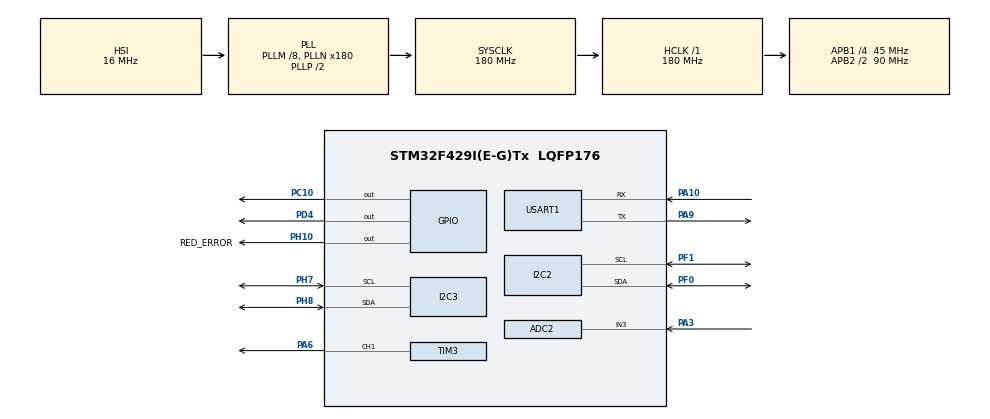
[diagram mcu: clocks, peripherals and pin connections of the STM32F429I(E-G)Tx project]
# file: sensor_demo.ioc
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ADC2.Channel-1\#ChannelRegularConversion=ADC_CHANNEL_3
ADC2.ClockPrescaler=ADC_CLOCK_SYNC_PCLK_DIV6
ADC2.NbrOfConversionFlag=1
ADC2.Rank-1\#ChannelRegularConversion=1
ADC2.SamplingTime-1\#ChannelRegularConversion=ADC_SAMPLETIME_84CYCLES
Dma.Request0=USART1_RX
Dma.USART1_RX.0.Direction=DMA_PERIPH_TO_MEMORY
Dma.USART1_RX.0.FIFOMode=DMA_FIFOMODE_DISABLE
Dma.USART1_RX.0.Instance=DMA2_Stream2
Dma.USART1_RX.0.MemDataAlignment=DMA_MDATAALIGN_BYTE
Dma.USART1_RX.0.MemInc=DMA_MINC_ENABLE
Dma.USART1_RX.0.Mode=DMA_NORMAL
Dma.USART1_RX.0.PeriphDataAlignment=DMA_PDATAALIGN_BYTE
Dma.USART1_RX.0.PeriphInc=DMA_PINC_DISABLE
Dma.USART1_RX.0.Priority=DMA_PRIORITY_LOW
FREERTOS.Tasks01=defaultTask,0,256,StartDefaultTask,Default,NULL,Dynamic,NULL,NULL
FREERTOS.configMINIMAL_STACK_SIZE=256
Mcu.Family=STM32F4
Mcu.Name=STM32F429I(E-G)Tx
Mcu.Package=LQFP176
NVIC.DMA2_Stream2_IRQn=true\:5\:0\:false\:false\:true\:true\:false\:true\:true
NVIC.PriorityGroup=NVIC_PRIORITYGROUP_4
NVIC.TIM6_DAC_IRQn=true\:15\:0\:false\:false\:true\:false\:false\:true\:true
NVIC.TimeBase=TIM6_DAC_IRQn
NVIC.TimeBaseIP=TIM6
NVIC.USART1_IRQn=true\:5\:0\:false\:false\:true\:true\:true\:true\:true
PA10.Mode=Asynchronous
PA10.Signal=USART1_RX
PA13.Mode=Serial_Wire
PA13.Signal=SYS_JTMS-SWDIO
PA14.Mode=Serial_Wire
PA14.Signal=SYS_JTCK-SWCLK
PA3.Signal=ADCx_IN3
PA6.Signal=S_TIM3_CH1
PA9.Mode=Asynchronous
PA9.Signal=USART1_TX
PC10.GPIO_ModeDefaultOutputPP=GPIO_MODE_OUTPUT_OD
PC10.GPIO_PuPd=GPIO_NOPULL
PC10.PinState=GPIO_PIN_SET
PC10.Signal=GPIO_Output
PD4.Signal=GPIO_Output
PF0.GPIO_Pu=GPIO_NOPULL
PF0.Mode=I2C
PF0.Signal=I2C2_SDA
PF1.GPIO_Pu=GPIO_NOPULL
PF1.Mode=I2C
PF1.Signal=I2C2_SCL
PH10.GPIO_Label=RED_ERROR
PH10.PinState=GPIO_PIN_SET
PH10.Signal=GPIO_Output
PH7.Mode=I2C
PH7.Signal=I2C3_SCL
PH8.Mode=I2C
PH8.Signal=I2C3_SDA
ProjectManager.HeapSize=0x200
ProjectManager.StackSize=0x400
ProjectManager.TargetToolchain=CMake
RCC.48MHZClocksFreq_Value=90000000
RCC.AHBFreq_Value=180000000
RCC.APB1CLKDivider=RCC_HCLK_DIV4
RCC.APB1Freq_Value=45000000
RCC.APB1TimFreq_Value=90000000
RCC.APB2CLKDivider=RCC_HCLK_DIV2
RCC.APB2Freq_Value=90000000
RCC.APB2TimFreq_Value=180000000
RCC.CortexFreq_Value=180000000
RCC.HCLKFreq_Value=180000000
RCC.HSE_VALUE=25000000
RCC.HSI_VALUE=16000000
RCC.LSE_VALUE=32768
RCC.PLLM=8
RCC.PLLN=180
RCC.SYSCLKFreq_VALUE=180000000
RCC.SYSCLKSource=RCC_SYSCLKSOURCE_PLLCLK
RCC.VCOOutputFreq_Value=360000000
SH.ADCx_IN3.0=ADC2_IN3,IN3
SH.S_TIM3_CH1.0=TIM3_CH1,PWM Generation1 CH1
TIM3.AutoReloadPreload=TIM_AUTORELOAD_PRELOAD_ENABLE
TIM3.Channel-PWM\ Generation1\ CH1=TIM_CHANNEL_1
TIM3.Period=999
TIM3.Prescaler=18000-1
USART1.VirtualMode=VM_ASYNC
VP_FREERTOS_VS_CMSIS_V1.Mode=CMSIS_V1
VP_SYS_VS_tim6.Mode=TIM6
board=custom

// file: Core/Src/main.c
/* USER CODE BEGIN Header */
/**
  ******************************************************************************
  * @file           : main.c
  * @brief          : Main program body
  ******************************************************************************
  * @attention
  *
  * Copyright (c) 2026 STMicroelectronics.
  * All rights reserved.
  *
  * This software is licensed under terms that can be found in the LICENSE file
  * in the root directory of this software component.
  * If no LICENSE file comes with this software, it is provided AS-IS.
  *
  ******************************************************************************
  */
/* USER CODE END Header */
#include "main.h"
#include "cmsis_os.h"
#include "adc.h"
#include "dma.h"
#include "i2c.h"
#include "tim.h"
#include "usart.h"
#include "gpio.h"

void SystemClock_Config(void);
void MX_FREERTOS_Init(void);

int main(void)
{

  /* MCU Configuration--------------------------------------------------------*/

  /* Reset of all peripherals, Initializes the Flash interface and the Systick. */
  HAL_Init();

  /* Configure the system clock */
  SystemClock_Config();

  /* Initialize all configured peripherals */
  MX_GPIO_Init();
  MX_DMA_Init();
  MX_I2C2_Init();
  MX_TIM3_Init();
  MX_USART1_UART_Init();
  MX_I2C3_Init();
  MX_ADC2_Init();

  /* Call init function for freertos objects (in cmsis_os2.c) */
  MX_FREERTOS_Init();

  /* Start scheduler */
  osKernelStart();

  /* We should never get here as control is now taken by the scheduler */

  /* Infinite loop */
  /* USER CODE BEGIN WHILE */
  while (1)
  {
    Error_Handler();
    /* USER CODE END WHILE */

  }
}

void SystemClock_Config(void)
{
  RCC_OscInitTypeDef RCC_OscInitStruct = {0};
  RCC_ClkInitTypeDef RCC_ClkInitStruct = {0};

  /** Configure the main internal regulator output voltage
  */
  __HAL_RCC_PWR_CLK_ENABLE();
  __HAL_PWR_VOLTAGESCALING_CONFIG(PWR_REGULATOR_VOLTAGE_SCALE1);

  /** Initializes the RCC Oscillators according to the specified parameters
  * in the RCC_OscInitTypeDef structure.
  */
  RCC_OscInitStruct.OscillatorType = RCC_OSCILLATORTYPE_HSI;
  RCC_OscInitStruct.HSIState = RCC_HSI_ON;
  RCC_OscInitStruct.HSICalibrationValue = RCC_HSICALIBRATION_DEFAULT;
  RCC_OscInitStruct.PLL.PLLState = RCC_PLL_ON;
  RCC_OscInitStruct.PLL.PLLSource = RCC_PLLSOURCE_HSI;
  RCC_OscInitStruct.PLL.PLLM = 8;
  RCC_OscInitStruct.PLL.PLLN = 180;
  RCC_OscInitStruct.PLL.PLLP = RCC_PLLP_DIV2;
  RCC_OscInitStruct.PLL.PLLQ = 4;
  if (HAL_RCC_OscConfig(&RCC_OscInitStruct) != HAL_OK)
  {
    Error_Handler();
  }

  /** Activate the Over-Drive mode
  */
  if (HAL_PWREx_EnableOverDrive() != HAL_OK)
  {
    Error_Handler();
  }

  /** Initializes the CPU, AHB and APB buses clocks
  */
  RCC_ClkInitStruct.ClockType = RCC_CLOCKTYPE_HCLK|RCC_CLOCKTYPE_SYSCLK
                              |RCC_CLOCKTYPE_PCLK1|RCC_CLOCKTYPE_PCLK2;
  RCC_ClkInitStruct.SYSCLKSource = RCC_SYSCLKSOURCE_PLLCLK;
  RCC_ClkInitStruct.AHBCLKDivider = RCC_SYSCLK_DIV1;
  RCC_ClkInitStruct.APB1CLKDivider = RCC_HCLK_DIV4;
  RCC_ClkInitStruct.APB2CLKDivider = RCC_HCLK_DIV2;

  if (HAL_RCC_ClockConfig(&RCC_ClkInitStruct, FLASH_LATENCY_5) != HAL_OK)
  {
    Error_Handler();
  }
}

void HAL_TIM_PeriodElapsedCallback(TIM_HandleTypeDef *htim)
{
  if (htim->Instance == TIM6)
  {
    HAL_IncTick();
  }
}

void Error_Handler(void)
{
  /* USER CODE BEGIN Error_Handler_Debug */
  /* User can add his own implementation to report the HAL error return state */
  __disable_irq();
  while (1)
  {
    // 点亮错误指示灯
    HAL_GPIO_WritePin(RED_ERROR_GPIO_Port, RED_ERROR_Pin, GPIO_PIN_RESET);
  }
  /* USER CODE END Error_Handler_Debug */
}

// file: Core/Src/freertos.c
/* USER CODE BEGIN Header */
/**
  ******************************************************************************
  * File Name          : freertos.c
  * Description        : Code for freertos applications
  ******************************************************************************
  * @attention
  *
  * Copyright (c) 2026 STMicroelectronics.
  * All rights reserved.
  *
  * This software is licensed under terms that can be found in the LICENSE file
  * in the root directory of this software component.
  * If no LICENSE file comes with this software, it is provided AS-IS.
  *
  ******************************************************************************
  */
/* USER CODE END Header */

#include "FreeRTOS.h"
#include "task.h"
#include "main.h"
#include "cmsis_os.h"

/* USER CODE BEGIN Includes */
#include "app_config.h"
#include "time_service.h"
/* USER CODE END Includes */

/* USER CODE BEGIN Variables */
osThreadId getSensorsDataTaskHandle;
osThreadId sendDataTaskHandle;
osThreadId receiveCommandTaskHandle;
osThreadId controlCommandTaskHandle;

/* USER CODE END Variables */
osThreadId defaultTaskHandle;

/* USER CODE BEGIN FunctionPrototypes */
extern void GetSensorsDataTask(void const * argument);
extern void SendDataTask(void const * argument);
extern void ReceiveCommandTask(void const * argument);
extern void ControlCommandTask(void const * argument);
extern int QueueInit(void);
/* USER CODE END FunctionPrototypes */

void StartDefaultTask(void const * argument);

void MX_FREERTOS_Init(void); /* (MISRA C 2004 rule 8.1) */

/* GetIdleTaskMemory prototype (linked to static allocation support) */
void vApplicationGetIdleTaskMemory( StaticTask_t **ppxIdleTaskTCBBuffer, StackType_t **ppxIdleTaskStackBuffer, uint32_t *pulIdleTaskStackSize );

/* USER CODE BEGIN GET_IDLE_TASK_MEMORY */
static StaticTask_t xIdleTaskTCBBuffer;
static StackType_t xIdleStack[configMINIMAL_STACK_SIZE];

void vApplicationGetIdleTaskMemory( StaticTask_t **ppxIdleTaskTCBBuffer, StackType_t **ppxIdleTaskStackBuffer, uint32_t *pulIdleTaskStackSize )
{
  *ppxIdleTaskTCBBuffer = &xIdleTaskTCBBuffer;
  *ppxIdleTaskStackBuffer = &xIdleStack[0];
  *pulIdleTaskStackSize = configMINIMAL_STACK_SIZE;
  /* place for user code */
}
/* USER CODE END GET_IDLE_TASK_MEMORY */

void MX_FREERTOS_Init(void) {
  /* USER CODE BEGIN Init */
  DWT_Init();
  QueueInit();
  /* USER CODE END Init */

  /* Create the thread(s) */
  /* definition and creation of defaultTask */
  osThreadDef(defaultTask, StartDefaultTask, osPriorityNormal, 0, 256);
  defaultTaskHandle = osThreadCreate(osThread(defaultTask), NULL);

  /* USER CODE BEGIN RTOS_THREADS */

  osThreadDef(getSensorsDataTask, GetSensorsDataTask, TASK_PRIO_SENSOR, 0, STACK_SENSOR);
  getSensorsDataTaskHandle = osThreadCreate(osThread(getSensorsDataTask), NULL);

  osThreadDef(sendDataTask, SendDataTask, TASK_PRIO_SEND, 0, STACK_SEND);
  sendDataTaskHandle = osThreadCreate(osThread(sendDataTask), NULL);

  osThreadDef(receiveCommandTask, ReceiveCommandTask, TASK_PRIO_RECV, 0, STACK_RECV);
  receiveCommandTaskHandle = osThreadCreate(osThread(receiveCommandTask), NULL);

  osThreadDef(controlCommandTask, ControlCommandTask, TASK_PRIO_CONTROL, 0, STACK_CONTROL);
  controlCommandTaskHandle = osThreadCreate(osThread(controlCommandTask), NULL);
  /* USER CODE END RTOS_THREADS */

}

void StartDefaultTask(void const * argument)
{
  for(;;)
  {
    osDelay(1);
  }
}
